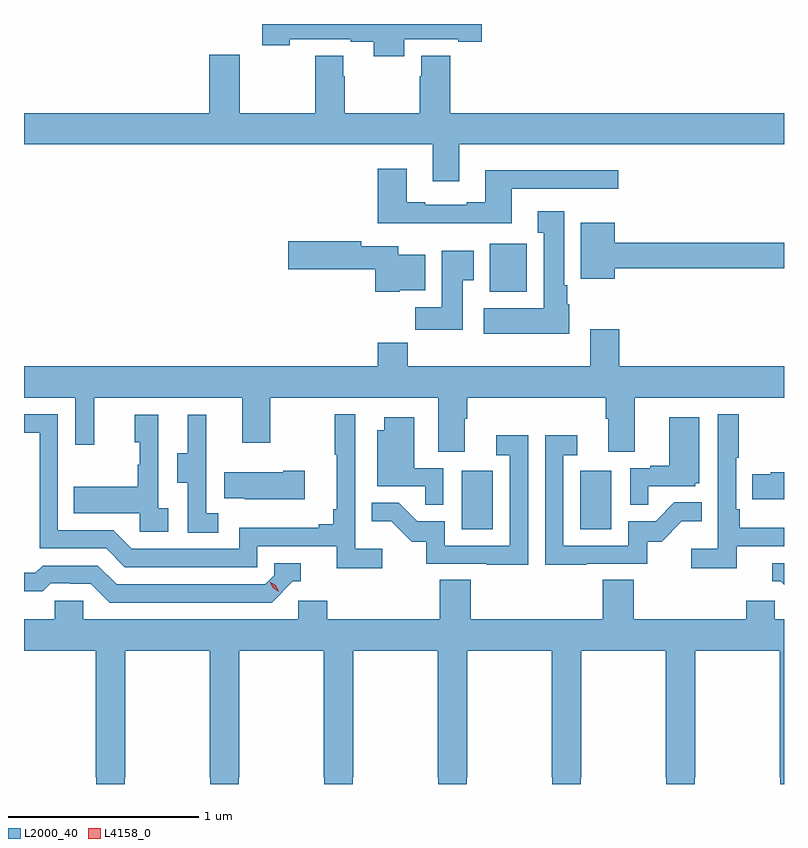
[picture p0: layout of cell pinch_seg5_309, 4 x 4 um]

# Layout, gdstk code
import gdstk
lib = gdstk.Library(unit=1e-6, precision=1e-09)
def R(c, l, rs):  # rectangles x0, y0, x1, y1
    for r in rs: c.add(gdstk.rectangle(r[:2], r[2:], *l))
def P(c, l, *ps):  # polygons
    for p in ps: c.add(gdstk.Polygon(p, *l))
L2000_40 = (2000, 40)
L4158_0 = (4158, 0)

pinch_seg5_309 = lib.new_cell('pinch_seg5_309')
R(pinch_seg5_309, L2000_40, [(900.182,882.708,900.346,883.015), (900.806,882.708,900.97,883.015), (900.329,883.958,900.525,884.209)])
P(pinch_seg5_309, L2000_40, [(899.878,885.285),(900.164,885.285),(900.164,885.273),(900.287,885.273),(900.287,885.366),(899.133,885.366),(899.133,885.253),(899.277,885.253),(899.277,885.285),(899.597,885.285),(899.597,885.273),(899.72,885.273),(899.72,885.197),(899.878,885.197)],
  [(900.169,884.732),(901.878,884.732),(901.878,884.896),(900.122,884.896),(900.122,885.2),(899.969,885.2),(899.969,885.092),(899.962,885.092),(899.962,884.896),(899.565,884.896),(899.565,885.092),(899.557,885.092),(899.557,885.2),(899.41,885.2),(899.41,884.896),(899.013,884.896),(899.013,885.205),(898.853,885.205),(898.853,884.896),(897.878,884.896),(897.878,884.732),(900.029,884.732),(900.029,884.538),(900.169,884.538)],
  [(900.445,884.499),(901.006,884.499),(901.006,884.596),(900.305,884.596),(900.305,884.428),(900.209,884.428),(900.209,884.415),(899.989,884.415),(899.989,884.428),(899.893,884.428),(899.893,884.605),(899.741,884.605),(899.741,884.318),(900.445,884.318)],
  [(900.748,883.89),(900.736,883.89),(900.736,883.99),(900.721,883.99),(900.721,884.38),(900.581,884.38),(900.581,884.267),(900.614,884.267),(900.614,883.87),(900.297,883.87),(900.297,883.736),(900.748,883.736)],
  [(900.988,884.08),(901.878,884.08),(901.878,884.216),(900.988,884.216),(900.988,884.32),(900.809,884.32),(900.809,884.024),(900.988,884.024)],
  [(899.856,883.964),(899.989,883.964),(899.989,884.152),(899.848,884.152),(899.848,884.197),(899.652,884.197),(899.652,884.222),(899.268,884.222),(899.268,884.075),(899.726,884.075),(899.726,883.958),(899.856,883.958)],
  [(900.187,884.017),(900.244,884.017),(900.244,884.173),(900.077,884.173),(900.077,883.876),(899.938,883.876),(899.938,883.758),(900.187,883.758)],
  [(900.199,883.288),(900.212,883.288),(900.212,883.4),(900.941,883.4),(900.941,883.288),(900.953,883.288),(900.953,883.114),(901.093,883.114),(901.093,883.4),(901.878,883.4),(901.878,883.564),(901.01,883.564),(901.01,883.759),(900.857,883.759),(900.857,883.564),(899.897,883.564),(899.897,883.688),(899.741,883.688),(899.741,883.564),(897.878,883.564),(897.878,883.4),(898.149,883.4),(898.149,883.152),(898.247,883.152),(898.247,883.4),(899.027,883.4),(899.027,883.161),(899.175,883.161),(899.175,883.4),(900.059,883.4),(900.059,883.114),(900.199,883.114)],
  [(899.764,882.604),(899.622,882.604),(899.622,883.312),(899.514,883.312),(899.514,883.099),(899.525,883.099),(899.525,882.811),(899.506,882.811),(899.506,882.734),(899.429,882.734),(899.429,882.715),(899.01,882.715),(899.01,882.603),(898.446,882.603),(898.347,882.702),(898.056,882.702),(898.056,883.311),(897.878,883.311),(897.878,883.215),(897.96,883.215),(897.96,882.606),(898.31,882.606),(898.409,882.507),(899.106,882.507),(899.106,882.618),(899.525,882.618),(899.525,882.502),(899.764,882.502)],
  [(901.628,882.618),(901.878,882.618),(901.878,882.715),(901.646,882.715),(901.646,882.811),(901.626,882.811),(901.626,883.084),(901.639,883.084),(901.639,883.312),(901.53,883.312),(901.53,882.604),(901.389,882.604),(901.389,882.502),(901.628,882.502)],
  [(898.636,882.818),(898.584,882.818),(898.584,883.309),(898.46,883.309),(898.46,883.164),(898.486,883.164),(898.486,883.046),(898.476,883.046),(898.476,882.931),(898.141,882.931),(898.141,882.791),(898.488,882.791),(898.488,882.693),(898.636,882.693)],
  [(898.9,882.791),(898.836,882.791),(898.836,883.095),(898.838,883.095),(898.838,883.309),(898.739,883.309),(898.739,883.107),(898.685,883.107),(898.685,882.952),(898.74,882.952),(898.74,882.688),(898.9,882.688)],
  [(900.084,883.029),(899.932,883.029),(899.932,883.297),(899.774,883.297),(899.774,883.228),(899.738,883.228),(899.738,882.933),(899.989,882.933),(899.989,882.835),(900.084,882.835)],
  [(901.163,882.933),(901.41,882.933),(901.41,882.948),(901.432,882.948),(901.432,883.297),(901.274,883.297),(901.274,883.042),(901.175,883.042),(901.175,883.029),(901.068,883.029),(901.068,882.835),(901.163,882.835)],
  [(900.531,883.201),(900.363,883.201),(900.363,883.095),(900.435,883.095),(900.435,882.621),(900.093,882.621),(900.093,882.75),(899.948,882.75),(899.851,882.847),(899.707,882.847),(899.707,882.749),(899.811,882.749),(899.918,882.642),(899.995,882.642),(899.995,882.525),(900.313,882.525),(900.313,882.52),(900.531,882.52)],
  [(900.839,882.525),(901.158,882.525),(901.158,882.642),(901.234,882.642),(901.341,882.749),(901.445,882.749),(901.445,882.848),(901.301,882.848),(901.203,882.75),(901.059,882.75),(901.059,882.621),(900.717,882.621),(900.717,883.095),(900.79,883.095),(900.79,883.201),(900.621,883.201),(900.621,882.52),(900.839,882.52)],
  [(899.356,883.014),(899.243,883.014),(899.243,883.006),(898.933,883.006),(898.933,882.869),(899.041,882.869),(899.041,882.866),(899.356,882.866)],
  [(901.878,883.006),(901.809,883.006),(901.809,882.996),(901.711,882.996),(901.711,882.866),(901.878,882.866)],
  [(901.878,882.528),(901.817,882.528),(901.817,882.432),(901.86,882.432),(901.878,882.414)],
  [(899.292,882.432),(899.335,882.432),(899.335,882.528),(899.196,882.528),(899.196,882.465),(899.148,882.417),(898.365,882.417),(898.266,882.516),(897.977,882.516),(897.938,882.477),(897.878,882.477),(897.878,882.381),(897.977,882.381),(898.019,882.423),(898.122,882.423),(898.122,882.42),(898.229,882.42),(898.328,882.321),(899.181,882.321)],
  [(899.455,881.401),(899.457,881.401),(899.457,881.366),(899.607,881.366),(899.607,881.401),(899.61,881.401),(899.61,882.068),(900.055,882.068),(900.055,881.401),(900.057,881.401),(900.057,881.366),(900.207,881.366),(900.207,881.401),(900.21,881.401),(900.21,882.068),(900.655,882.068),(900.655,881.401),(900.657,881.401),(900.657,881.366),(900.807,881.366),(900.807,881.401),(900.81,881.401),(900.81,882.068),(901.255,882.068),(901.255,881.401),(901.257,881.401),(901.257,881.366),(901.407,881.366),(901.407,881.401),(901.41,881.401),(901.41,882.068),(901.855,882.068),(901.855,881.401),(901.857,881.401),(901.857,881.366),(901.878,881.366),(901.878,882.232),(901.83,882.232),(901.83,882.33),(901.679,882.33),(901.679,882.232),(901.088,882.232),(901.088,882.44),(900.923,882.44),(900.923,882.232),(900.23,882.232),(900.23,882.44),(900.065,882.44),(900.065,882.232),(899.474,882.232),(899.474,882.33),(899.322,882.33),(899.322,882.232),(898.191,882.232),(898.191,882.33),(898.041,882.33),(898.041,882.232),(897.878,882.232),(897.878,882.068),(898.255,882.068),(898.255,881.401),(898.257,881.401),(898.257,881.366),(898.407,881.366),(898.407,881.401),(898.41,881.401),(898.41,882.068),(898.855,882.068),(898.855,881.401),(898.857,881.401),(898.857,881.366),(899.007,881.366),(899.007,881.401),(899.01,881.401),(899.01,882.068),(899.455,882.068)])
P(pinch_seg5_309, L4158_0, [(899.219,882.379),(899.188,882.398),(899.172,882.431),(899.172,882.431),(899.172,882.431),(899.203,882.412),(899.219,882.379),(899.219,882.379)])

lib.write_gds('pinch_seg5_309.gds')
